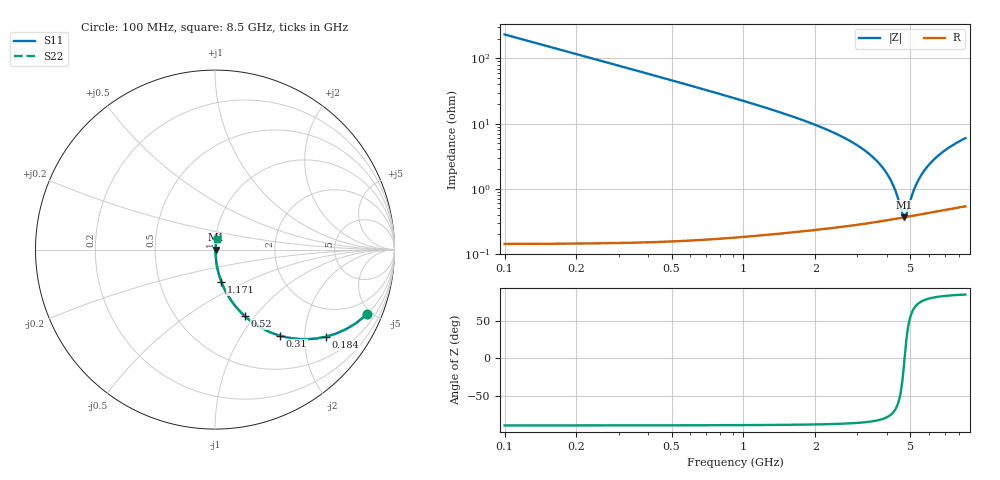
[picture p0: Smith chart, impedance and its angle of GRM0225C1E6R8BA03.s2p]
!Murata Part Number: GRM0225C1E6R8BA03
!These Parameters are Measured in Series Mode Connection
!Data Generated on Mar 30, 2021
!  o--ll--o
!Port1  Port2
!  o------o
!Operation Temp=25[degC], DC Bias Voltage=0[V]
!Freq. Start=100[MHz] Stop=9[GHz] 401[Steps]
# Hz S RI R 50
!Freq.(Hz) S11(Real) S11(Imag) S21(Real) S21(Imag) S12(Real) S12(Imag) S22(Real) S22(Imag)
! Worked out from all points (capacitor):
!   401 points, 100 MHz to 8.5 GHz, reference 50 ohm
!   read as one part in series: C = 6.8 pF near 142 MHz
!   lowest |Z| = 363 mohm at 4.72 GHz (marker M1)
!   series resonance near 4.73 GHz, so ESL is about 170 pH
!   S11 on the Smith chart (normalised r, x): 100 MHz: 1.00, -4.68; 184 MHz: 1.00, -2.54; 310 MHz: 1.00, -1.50; 520 MHz: 1.00, -0.89; 1.171 GHz: 1.00, -0.37; 8.5 GHz: 1.01, +0.12
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1e8  0.8454 -0.3613  0.1546 0.3613  0.1546 0.3613  0.8454 -0.3613
1.84e8  0.6171 -0.4855  0.3829 0.4855  0.3829 0.4855  0.6171 -0.4855
3.1e8  0.3612 -0.4794  0.6388 0.4794  0.6388 0.4794  0.3612 -0.4794
4.15e8  0.2389 -0.4251  0.7611 0.4251  0.7611 0.4251  0.2389 -0.4251
5.2e8  0.1657 -0.3701  0.8343 0.3701  0.8343 0.3701  0.1657 -0.3701
7.72e8  0.0812 -0.2703  0.9188 0.2703  0.9188 0.2703  0.0812 -0.2703
1.171e9  0.0355 -0.1801  0.9645 0.1801  0.9645 0.1801  0.0355 -0.1801
1.507e9  0.0209 -0.1358  0.9791 0.1358  0.9791 0.1358  0.0209 -0.1358
2.914e9  0.00515 -0.049  0.9949 0.049  0.9949 0.049  0.00515 -0.049
3.754e9  0.00365 -0.0226  0.9963 0.0226  0.9963 0.0226  0.00365 -0.0226
4.048e9  0.00351 -0.0152  0.9965 0.0152  0.9965 0.0152  0.00351 -0.0152
4.3e9  0.00349 -0.00924  0.9965 0.00924  0.9965 0.00924  0.00349 -0.00924
4.636e9  0.00358 -0.00193  0.9964 0.00193  0.9964 0.00193  0.00358 -0.00193
4.72e9  0.00362 -0.000196  0.9964 0.000196  0.9964 0.000196  0.00362 -0.000196
4.804e9  0.00366 0.00151  0.9963 -0.00151  0.9963 -0.00151  0.00366 0.00151
5.056e9  0.00382 0.00645  0.9962 -0.00645  0.9962 -0.00645  0.00382 0.00645
5.245e9  0.00398 0.00999  0.996 -0.00999  0.996 -0.00999  0.00398 0.00999
5.455e9  0.00417 0.0138  0.9958 -0.0138  0.9958 -0.0138  0.00417 0.0138
5.707e9  0.00443 0.0182  0.9956 -0.0182  0.9956 -0.0182  0.00443 0.0182
6.316e9  0.00518 0.0281  0.9948 -0.0281  0.9948 -0.0281  0.00518 0.0281
7.114e9  0.00636 0.04  0.9936 -0.04  0.9936 -0.04  0.00636 0.04
8.5e9  0.00879 0.0587  0.9912 -0.0587  0.9912 -0.0587  0.00879 0.0587
